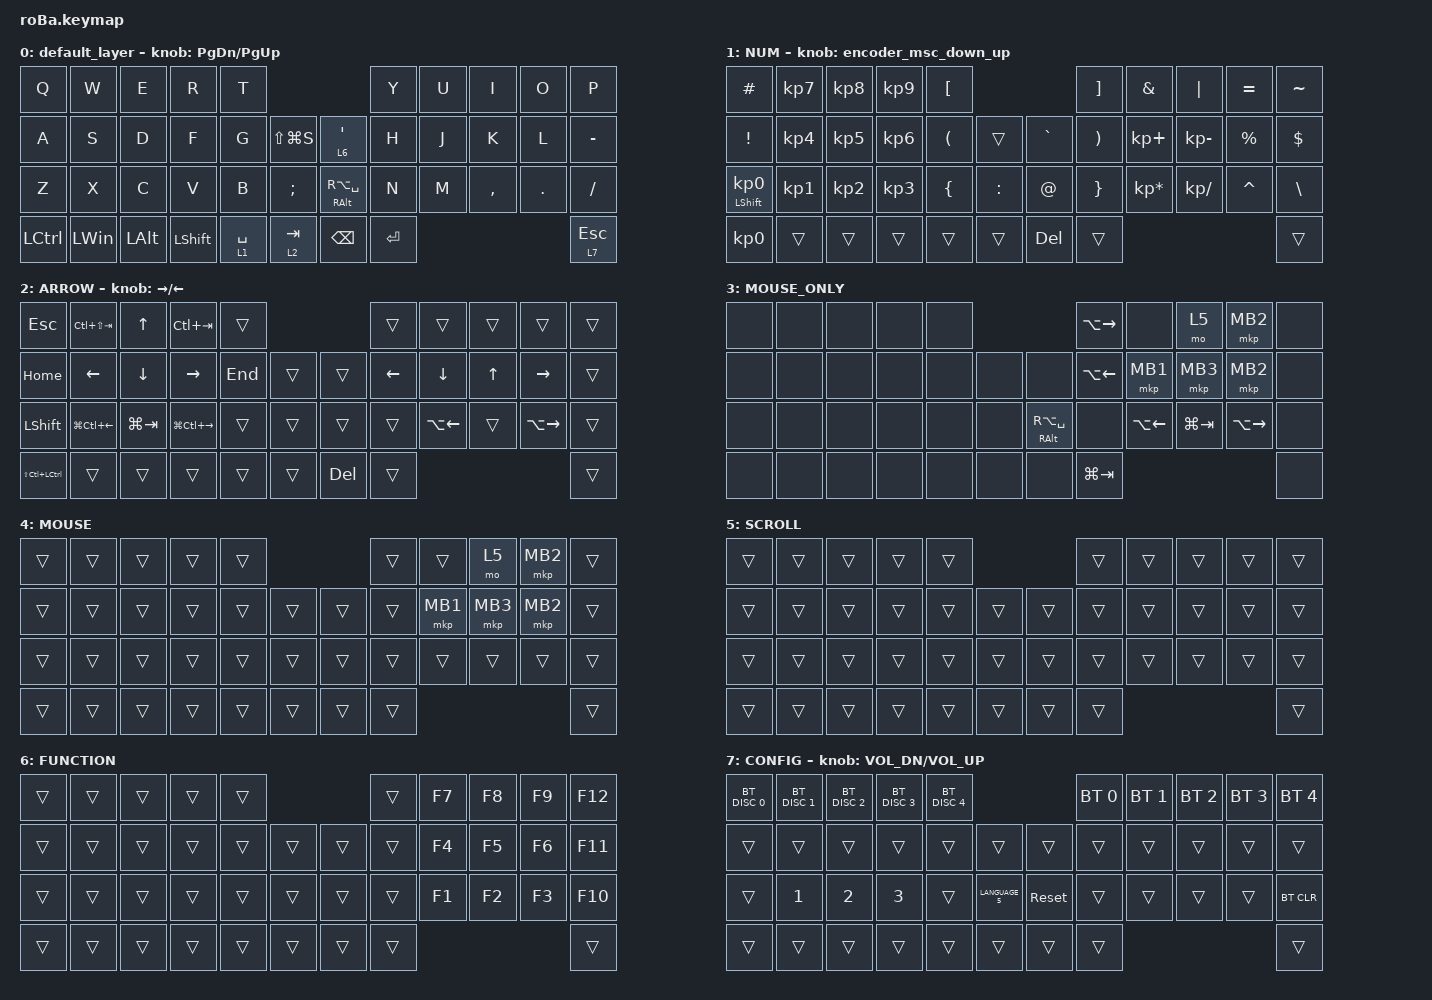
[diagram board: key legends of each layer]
#include <input/processors.dtsi>
#include <behaviors.dtsi>
#include <dt-bindings/zmk/bt.h>
#include <dt-bindings/zmk/keys.h>
#include <dt-bindings/zmk/pointing.h>

#define ZMK_POINTING_DEFAULT_SCRL_VAL 140

&mt {
    flavor = "balanced";
    quick-tap-ms = <0>;
    tapping-term-ms = <300>;
};

&mkp_input_listener { input-processors = <&zip_temp_layer 5 250>; };

&trackball {
    // Keep scroll conversion on layer 5; only automouse activation was removed.

    scroll-layers = <5>;

    // arrows {
    //     layers = <3>;
    //     bindings =
    //         <&kp RIGHT_ARROW>,
    //         <&kp LEFT_ARROW>,
    //         <&kp UP_ARROW>,
    //         <&kp DOWN_ARROW>;
    //     tick = <10>;
    //     wait-ms = <5>;
    //     tap-ms = <5>;
    // };
};

/ {
    combos {
        compatible = "zmk,combos";

        tab {
            bindings = <&kp TAB>;
            key-positions = <11 12>;
        };

        shift_tab {
            bindings = <&kp LS(TAB)>;
            key-positions = <11 10>;
        };

        ime_on {
            bindings = <&to_layer_0 LANGUAGE_1>;
            key-positions = <12 13>;
        };

        ime_off {
            bindings = <&to_layer_0 LANGUAGE_2>;
            key-positions = <18 19>;
        };

        mouse_only_mode {
            bindings = <&to 3>;
            key-positions = <18 9>;
        };

        ctrl+c {
            bindings = <&kp LC(C)>;
            key-positions = <23 24>;
        };

        ctrl+v {
            bindings = <&kp LC(V)>;
            key-positions = <25 26>;
        };

        esc {
            bindings = <&kp ESC>;
            key-positions = <0 1>;
        };

        Capital {
            bindings = <&sk LEFT_SHIFT>;
            key-positions = <23 22>;
        };
    };

    macros {
        to_layer_0: to_layer_0 {
            compatible = "zmk,behavior-macro-one-param";
            #binding-cells = <1>;
            bindings = <&to 0 &macro_param_1to1 &kp MACRO_PLACEHOLDER>;
            label = "TO_LAYER_0";
        };
    };

    behaviors {
        lt_to_layer_0: lt_to_layer_0 {
            compatible = "zmk,behavior-hold-tap";
            label = "LAYER_TAP_TO_0";
            bindings = <&mo>, <&to_layer_0>;

            #binding-cells = <2>;
            tapping-term-ms = <200>;
        };

        encoder_msc_down_up: encoder_msc_down_up {
            compatible = "zmk,behavior-sensor-rotate";
            label = "ENCODER_MSC_DOWN_UP";
            #sensor-binding-cells = <0>;
            bindings = <&msc SCRL_DOWN>, <&msc SCRL_UP>;

            tap-ms = <20>;
        };
    };

    keymap {
        compatible = "zmk,keymap";

        default_layer {
            bindings = <
&kp Q      &kp W         &kp E         &kp R           &kp T                                                           &kp Y      &kp U  &kp I      &kp O    &kp P
&kp A      &kp S         &kp D         &kp F           &kp G        &kp LS(LG(S))             &lt 6 APOS               &kp H      &kp J  &kp K      &kp L    &kp MINUS
&kp Z      &kp X         &kp C         &kp V           &kp B        &kp SEMI                  &mt RIGHT_ALT RA(SPACE)  &kp N      &kp M  &kp COMMA  &kp DOT  &kp SLASH
&kp LCTRL  &kp LEFT_WIN  &kp LEFT_ALT  &kp LEFT_SHIFT  &lt 1 SPACE  &lt_to_layer_0 2 TAB      &kp BACKSPACE            &kp ENTER                             &lt 7 ESCAPE
            >;

            sensor-bindings = <&inc_dec_kp PG_DN PG_UP>;
        };

        NUM {
            bindings = <
&kp HASH                    &kp KP_NUMBER_7  &kp KP_NUMBER_8  &kp KP_NUMBER_9  &kp LEFT_BRACKET                                 &kp RIGHT_BRACKET      &kp AMPERSAND    &kp PIPE      &kp EQUAL    &kp TILDE
&kp EXCLAMATION             &kp KP_NUMBER_4  &kp KP_NUMBER_5  &kp KP_NUMBER_6  &kp LEFT_PARENTHESIS  &trans         &kp GRAVE   &kp RIGHT_PARENTHESIS  &kp KP_PLUS      &kp KP_MINUS  &kp PERCENT  &kp DOLLAR
&mt LEFT_SHIFT KP_NUMBER_0  &kp KP_NUMBER_1  &kp KP_NUMBER_2  &kp KP_NUMBER_3  &kp LEFT_BRACE        &kp COLON      &kp AT      &kp RIGHT_BRACE        &kp KP_ASTERISK  &kp KP_SLASH  &kp CARET    &kp BACKSLASH
&kp KP_NUMBER_0             &trans           &trans           &trans           &trans                &trans         &kp DELETE  &trans                                                             &trans
            >;

            sensor-bindings = <&encoder_msc_down_up>;
        };

        ARROW {
            bindings = <
&kp ESCAPE                &kp LC(LS(TAB))         &kp UP_ARROW    &kp LC(TAB)              &trans                           &trans    &trans              &trans  &trans         &trans
&kp HOME                  &kp LEFT_ARROW          &kp DOWN_ARROW  &kp RIGHT_ARROW          &kp END  &trans      &trans      &kp LEFT  &kp DOWN            &kp UP  &kp RIGHT      &trans
&kp LEFT_SHIFT            &kp LG(LC(LEFT_ARROW))  &kp LG(TAB)     &kp LG(LC(RIGHT_ARROW))  &trans   &trans      &trans      &trans    &kp LA(LEFT_ARROW)  &trans  &kp LA(RIGHT)  &trans
&kp LS(LC(LEFT_CONTROL))  &trans                  &trans          &trans                   &trans   &trans      &kp DELETE  &trans                                               &trans
            >;

            sensor-bindings = <&inc_dec_kp RIGHT LEFT>;
        };

        MOUSE_ONLY {
            bindings = <
&none  &none  &none  &none  &none                                      &kp LA(RIGHT)  &none               &mo 5        &mkp MB2       &none
&none  &none  &none  &none  &none  &none      &none                    &kp LA(LEFT)   &mkp MB1            &mkp MB3     &mkp MB2       &none
&none  &none  &none  &none  &none  &none      &mt RIGHT_ALT RA(SPACE)  &none          &kp LA(LEFT_ARROW)  &kp LG(TAB)  &kp LA(RIGHT)  &none
&none  &none  &none  &none  &none  &none      &none                    &kp LG(TAB)                                                    &none
            >;
        };

        MOUSE {
            bindings = <
&trans  &trans  &trans  &trans  &trans                      &trans  &trans    &mo 5     &mkp MB2  &trans
&trans  &trans  &trans  &trans  &trans  &trans      &trans  &trans  &mkp MB1  &mkp MB3  &mkp MB2  &trans
&trans  &trans  &trans  &trans  &trans  &trans      &trans  &trans  &trans    &trans    &trans    &trans
&trans  &trans  &trans  &trans  &trans  &trans      &trans  &trans                                &trans
            >;
        };

        SCROLL {
            bindings = <
&trans  &trans  &trans  &trans  &trans                      &trans  &trans  &trans  &trans  &trans
&trans  &trans  &trans  &trans  &trans  &trans      &trans  &trans  &trans  &trans  &trans  &trans
&trans  &trans  &trans  &trans  &trans  &trans      &trans  &trans  &trans  &trans  &trans  &trans
&trans  &trans  &trans  &trans  &trans  &trans      &trans  &trans                          &trans
            >;
        };

        FUNCTION {
            bindings = <
&trans  &trans  &trans  &trans  &trans                      &trans  &kp F7  &kp F8  &kp F9  &kp F12
&trans  &trans  &trans  &trans  &trans  &trans      &trans  &trans  &kp F4  &kp F5  &kp F6  &kp F11
&trans  &trans  &trans  &trans  &trans  &trans      &trans  &trans  &kp F1  &kp F2  &kp F3  &kp F10
&trans  &trans  &trans  &trans  &trans  &trans      &trans  &trans                          &trans
            >;
        };

        CONFIG {
            bindings = <
&bt BT_DISC 0  &bt BT_DISC 1  &bt BT_DISC 2  &bt BT_DISC 3  &bt BT_DISC 4                                  &bt BT_SEL 0  &bt BT_SEL 1  &bt BT_SEL 2  &bt BT_SEL 3  &bt BT_SEL 4
&trans         &trans         &trans         &trans         &trans         &trans              &trans      &trans        &trans        &trans        &trans        &trans
&trans         &kp NUMBER_1   &kp NUMBER_2   &kp NUMBER_3   &trans         &kp LANGUAGE_5      &sys_reset  &trans        &trans        &trans        &trans        &bt BT_CLR
&trans         &trans         &trans         &trans         &trans         &trans              &trans      &trans                                                  &trans
            >;

            sensor-bindings = <&inc_dec_kp C_VOL_DN C_VOLUME_UP>;
        };
    };
};
